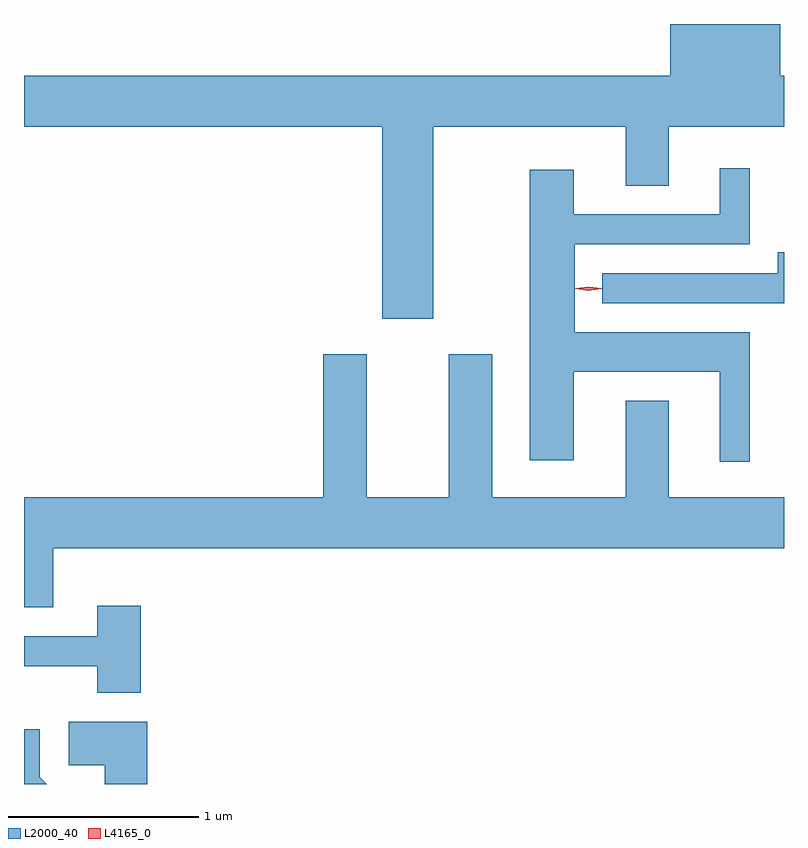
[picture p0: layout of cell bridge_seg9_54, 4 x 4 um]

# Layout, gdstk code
import gdstk
lib = gdstk.Library(unit=1e-6, precision=1e-09)
def P(c, l, *ps):  # polygons
    for p in ps: c.add(gdstk.Polygon(p, *l))
L2000_40 = (2000, 40)
L4165_0 = (4165, 0)

bridge_seg9_54 = lib.new_cell('bridge_seg9_54')
P(bridge_seg9_54, L2000_40, [(1541.975,2000.964),(1541.954,2000.964),(1541.954,2001.236),(1541.376,2001.236),(1541.376,2000.964),(1537.975,2000.964),(1537.975,2000.696),(1539.861,2000.696),(1539.861,1999.686),(1540.129,1999.686),(1540.129,2000.696),(1541.141,2000.696),(1541.141,2000.386),(1541.369,2000.386),(1541.369,2000.696),(1541.975,2000.696)],
  [(1541.794,1999.614),(1540.874,1999.614),(1540.874,2000.076),(1541.794,2000.076),(1541.794,2000.478),(1541.636,2000.478),(1541.636,2000.234),(1540.869,2000.234),(1540.869,2000.469),(1540.636,2000.469),(1540.636,1998.941),(1540.869,1998.941),(1540.869,1999.406),(1541.636,1999.406),(1541.636,1998.933),(1541.794,1998.933)],
  [(1541.975,2000.034),(1541.941,2000.034),(1541.941,1999.924),(1541.018,1999.924),(1541.018,1999.766),(1541.975,1999.766)],
  [(1538.129,1998.476),(1541.975,1998.476),(1541.975,1998.744),(1541.369,1998.744),(1541.369,1999.254),(1541.141,1999.254),(1541.141,1998.744),(1540.439,1998.744),(1540.439,1999.499),(1540.211,1999.499),(1540.211,1998.744),(1539.779,1998.744),(1539.779,1999.499),(1539.551,1999.499),(1539.551,1998.744),(1537.975,1998.744),(1537.975,1998.166),(1538.129,1998.166)],
  [(1538.589,1998.174),(1538.361,1998.174),(1538.361,1998.014),(1537.975,1998.014),(1537.975,1997.856),(1538.361,1997.856),(1538.361,1997.716),(1538.589,1997.716)],
  [(1538.624,1997.564),(1538.211,1997.564),(1538.211,1997.336),(1538.401,1997.336),(1538.401,1997.236),(1538.624,1997.236)],
  [(1538.059,1997.272),(1538.059,1997.524),(1537.975,1997.524),(1537.975,1997.236),(1538.095,1997.236)])
P(bridge_seg9_54, L4165_0, [(1540.946,1999.833),(1540.88,1999.843),(1540.88,1999.843),(1540.88,1999.844),(1540.946,1999.853),(1541.012,1999.844),(1541.013,1999.843),(1541.012,1999.843)],
  [(1540.947,1999.833),(1540.878,1999.843),(1540.877,1999.843),(1540.878,1999.844),(1540.947,1999.853),(1541.016,1999.844),(1541.016,1999.843),(1541.016,1999.843)])

lib.write_gds('bridge_seg9_54.gds')
